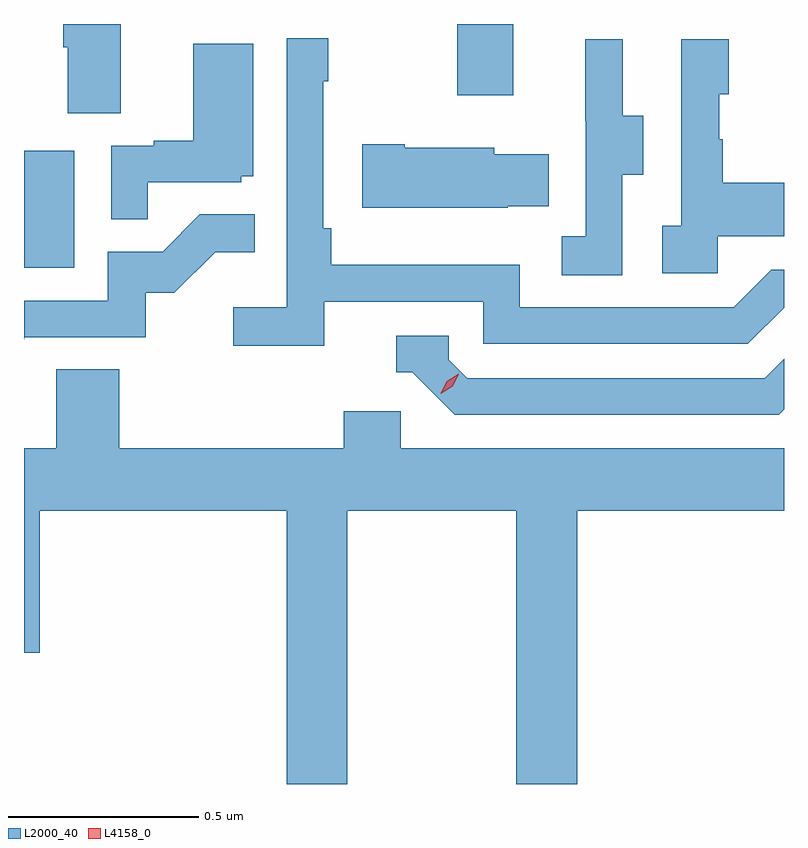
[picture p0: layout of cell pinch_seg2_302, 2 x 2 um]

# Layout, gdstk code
import gdstk
lib = gdstk.Library(unit=1e-6, precision=1e-09)
def R(c, l, rs):  # rectangles x0, y0, x1, y1
    for r in rs: c.add(gdstk.rectangle(r[:2], r[2:], *l))
def P(c, l, *ps):  # polygons
    for p in ps: c.add(gdstk.Polygon(p, *l))
L2000_40 = (2000, 40)
L4158_0 = (4158, 0)

pinch_seg2_302 = lib.new_cell('pinch_seg2_302')
R(pinch_seg2_302, L2000_40, [(944.35,642.948,944.482,643.255), (945.49,643.401,945.637,643.589)])
P(pinch_seg2_302, L2000_40, [(944.605,643.589),(944.453,643.589),(944.453,643.528),(944.465,643.528),(944.465,643.354),(944.605,643.354)],
  [(945.14,642.858),(945.558,642.858),(945.558,642.747),(946.255,642.747),(946.35,642.842),(946.35,642.942),(946.317,642.942),(946.218,642.843),(945.654,642.843),(945.654,642.955),(945.158,642.955),(945.158,643.051),(945.138,643.051),(945.138,643.439),(945.151,643.439),(945.151,643.552),(945.042,643.552),(945.042,642.844),(944.901,642.844),(944.901,642.742),(945.14,642.742)],
  [(945.924,643.192),(945.979,643.192),(945.979,643.347),(945.925,643.347),(945.925,643.549),(945.827,643.549),(945.827,643.335),(945.828,643.335),(945.828,643.031),(945.765,643.031),(945.765,642.928),(945.924,642.928)],
  [(946.176,643.031),(946.35,643.031),(946.35,643.171),(946.189,643.171),(946.189,643.286),(946.179,643.286),(946.179,643.404),(946.204,643.404),(946.204,643.549),(946.08,643.549),(946.08,643.058),(946.029,643.058),(946.029,642.933),(946.176,642.933)],
  [(944.675,643.173),(944.922,643.173),(944.922,643.188),(944.953,643.188),(944.953,643.537),(944.795,643.537),(944.795,643.282),(944.691,643.282),(944.691,643.269),(944.58,643.269),(944.58,643.075),(944.675,643.075)],
  [(945.623,643.109),(945.731,643.109),(945.731,643.246),(945.588,643.246),(945.588,643.264),(945.352,643.264),(945.352,643.272),(945.24,643.272),(945.24,643.106),(945.623,643.106)],
  [(944.351,642.765),(944.67,642.765),(944.67,642.882),(944.746,642.882),(944.853,642.989),(944.957,642.989),(944.957,643.088),(944.813,643.088),(944.715,642.99),(944.571,642.99),(944.571,642.861),(944.35,642.861),(944.35,642.76),(944.351,642.76)],
  [(946.35,642.575),(946.35,642.708),(946.299,642.657),(945.516,642.657),(945.468,642.705),(945.468,642.768),(945.329,642.768),(945.329,642.672),(945.372,642.672),(945.483,642.561),(946.336,642.561)],
  [(945.201,642.308),(945.646,642.308),(945.646,641.589),(945.806,641.589),(945.806,642.308),(946.35,642.308),(946.35,642.472),(945.342,642.472),(945.342,642.57),(945.191,642.57),(945.191,642.472),(944.6,642.472),(944.6,642.68),(944.435,642.68),(944.435,642.472),(944.35,642.472),(944.35,641.934),(944.392,641.934),(944.392,642.308),(945.041,642.308),(945.041,641.589),(945.201,641.589)])
P(pinch_seg2_302, L4158_0, [(945.447,642.616),(945.447,642.617),(945.463,642.649),(945.494,642.669),(945.494,642.669),(945.494,642.669),(945.478,642.636),(945.447,642.616)])

lib.write_gds('pinch_seg2_302.gds')
